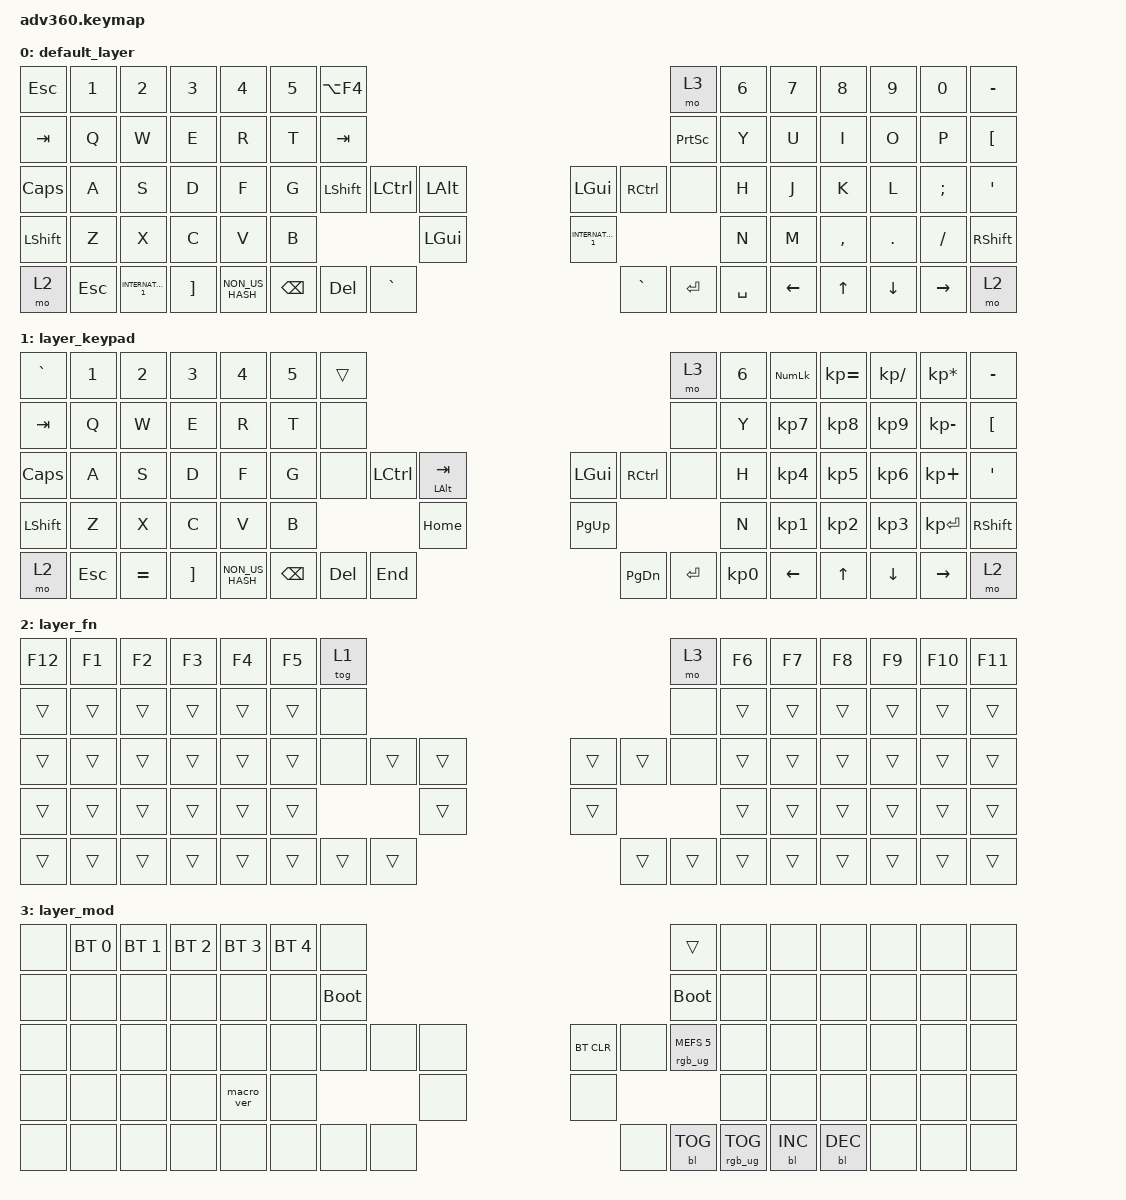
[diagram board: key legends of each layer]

/*
 * Copyright (c) 2020 The ZMK Contributors
 *
 * SPDX-License-Identifier: MIT
 */


/* THIS FILE WAS GENERATED!
 *
 * This file was generated automatically. You may or may not want to
 * edit it directly.
 */

#include <behaviors.dtsi>
#include <dt-bindings/zmk/keys.h>
#include <dt-bindings/zmk/bt.h>
#include <dt-bindings/zmk/rgb.h>
#include <dt-bindings/zmk/backlight.h>

/ {
  behaviors {
    #include "macros.dtsi"
    #include "version.dtsi"

    hm: homerow_mods {
        compatible = "zmk,behavior-hold-tap";
        label = "HOMEROW_MODS";
        #binding-cells = <2>;
        tapping-term-ms = <200>;
        quick_tap_ms = <175>;
        flavor = "tap-preferred";
        bindings = <&kp>, <&kp>;
    };
  };

    keymap {
        compatible = "zmk,keymap";


        default_layer {
            bindings = <
   &kp ESC   &kp N1               &kp N2             &kp N3           &kp N4  &kp N5            &kp LA(F4)                                                                                     &mo 3  &kp N6    &kp N7     &kp N8    &kp N9     &kp N0         &kp MINUS
   &kp TAB    &kp Q                &kp W              &kp E            &kp R   &kp T               &kp TAB                                                                           &kp PRINTSCREEN   &kp Y     &kp U      &kp I     &kp O      &kp P  &kp LEFT_BRACKET
  &kp CAPS    &kp A                &kp S              &kp D            &kp F   &kp G             &kp LSHFT  &kp LCTRL  &kp LEFT_ALT                             &kp LGUI  &kp RCTRL            &none   &kp H     &kp J      &kp K     &kp L   &kp SEMI           &kp SQT
 &kp LSHFT    &kp Z                &kp X              &kp C            &kp V   &kp B                                       &kp LGUI                  &kp INTERNATIONAL_1                               &kp N     &kp M  &kp COMMA   &kp DOT   &kp FSLH         &kp RSHFT
     &mo 2  &kp ESC  &kp INTERNATIONAL_1  &kp RIGHT_BRACKET  &kp NON_US_HASH                      &kp BSPC    &kp DEL     &kp GRAVE                            &kp GRAVE  &kp ENTER        &kp SPACE          &kp LEFT     &kp UP  &kp DOWN  &kp RIGHT             &mo 2
            >;
        };

        layer_keypad {
            bindings = <
 &kp GRAVE   &kp N1     &kp N2             &kp N3           &kp N4  &kp N5              &trans                                                                         &mo 3  &kp N6  &kp KP_NUM  &kp KP_EQUAL  &kp KP_DIVIDE  &kp KP_MULTIPLY         &kp MINUS
   &kp TAB    &kp Q      &kp W              &kp E            &kp R   &kp T               &none                                                                         &none   &kp Y   &kp KP_N7     &kp KP_N8      &kp KP_N9     &kp KP_MINUS  &kp LEFT_BRACKET
  &kp CAPS    &kp A      &kp S              &kp D            &kp F   &kp G               &none  &kp LCTRL  &mt LALT TAB                       &kp LGUI  &kp RCTRL      &none   &kp H   &kp KP_N4     &kp KP_N5      &kp KP_N6      &kp KP_PLUS           &kp SQT
 &kp LSHFT    &kp Z      &kp X              &kp C            &kp V   &kp B                                     &kp HOME                    &kp PAGE_UP                         &kp N   &kp KP_N1     &kp KP_N2      &kp KP_N3     &kp KP_ENTER         &kp RSHFT
     &mo 2  &kp ESC  &kp EQUAL  &kp RIGHT_BRACKET  &kp NON_US_HASH                    &kp BSPC    &kp DEL       &kp END                  &kp PAGE_DOWN  &kp ENTER  &kp KP_N0            &kp LEFT        &kp UP       &kp DOWN        &kp RIGHT             &mo 2
            >;
        };

        layer_fn {
            bindings = <
 &kp F12  &kp F1  &kp F2  &kp F3  &kp F4  &kp F5            &tog 1                                                   &mo 3  &kp F6  &kp F7  &kp F8  &kp F9  &kp F10  &kp F11
  &trans  &trans  &trans  &trans  &trans  &trans             &none                                                   &none  &trans  &trans  &trans  &trans   &trans   &trans
  &trans  &trans  &trans  &trans  &trans  &trans             &none  &trans  &trans                  &trans  &trans   &none  &trans  &trans  &trans  &trans   &trans   &trans
  &trans  &trans  &trans  &trans  &trans  &trans                            &trans                  &trans                  &trans  &trans  &trans  &trans   &trans   &trans
  &trans  &trans  &trans  &trans  &trans                    &trans  &trans  &trans                  &trans  &trans  &trans          &trans  &trans  &trans   &trans   &trans
            >;
        };

        layer_mod {
            bindings = <
  &none  &bt BT_SEL 0  &bt BT_SEL 1  &bt BT_SEL 2  &bt BT_SEL 3  &bt BT_SEL 4                  &none                                                                          &trans   &none       &none       &none   &none   &none   &none
  &none         &none         &none         &none         &none         &none            &bootloader                                                                     &bootloader   &none       &none       &none   &none   &none   &none
  &none         &none         &none         &none         &none         &none                  &none   &none   &none                  &bt BT_CLR       &none  &rgb_ug RGB_MEFS_CMD 5   &none       &none       &none   &none   &none   &none
  &none         &none         &none         &none    &macro_ver         &none                                  &none                       &none                                       &none       &none       &none   &none   &none   &none
  &none         &none         &none         &none         &none                                &none   &none   &none                       &none  &bl BL_TOG         &rgb_ug RGB_TOG          &bl BL_INC  &bl BL_DEC   &none   &none   &none
            >;
        };

    };
};
